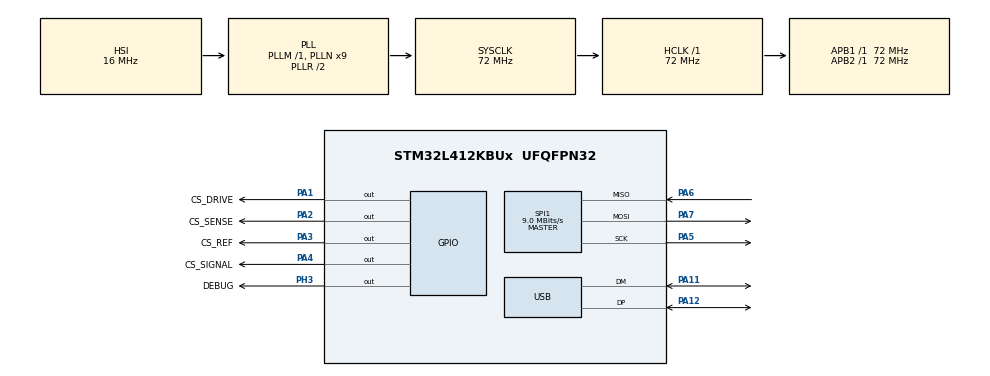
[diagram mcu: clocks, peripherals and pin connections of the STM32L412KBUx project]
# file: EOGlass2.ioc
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Mcu.Family=STM32L4
Mcu.Name=STM32L412KBUx
Mcu.Package=UFQFPN32
NVIC.PriorityGroup=NVIC_PRIORITYGROUP_4
NVIC.SPI1_IRQn=true\:0\:0\:true\:false\:true\:true\:true
NVIC.TIM1_CC_IRQn=true\:0\:0\:true\:false\:true\:true\:true
NVIC.USB_IRQn=true\:7\:0\:true\:false\:true\:false\:true
PA1.GPIO_Label=CS_DRIVE
PA1.GPIO_ModeDefaultOutputPP=GPIO_MODE_OUTPUT_PP
PA1.PinState=GPIO_PIN_SET
PA1.Signal=GPIO_Output
PA11.Mode=Device
PA11.Signal=USB_DM
PA12.Mode=Device
PA12.Signal=USB_DP
PA13\ (JTMS/SWDIO).Mode=Serial_Wire
PA13\ (JTMS/SWDIO).Signal=SYS_JTMS-SWDIO
PA14\ (JTCK/SWCLK).Mode=Serial_Wire
PA14\ (JTCK/SWCLK).Signal=SYS_JTCK-SWCLK
PA2.GPIO_Label=CS_SENSE
PA2.PinState=GPIO_PIN_SET
PA2.Signal=GPIO_Output
PA3.GPIO_Label=CS_REF
PA3.GPIO_ModeDefaultOutputPP=GPIO_MODE_OUTPUT_PP
PA3.PinState=GPIO_PIN_SET
PA3.Signal=GPIO_Output
PA4.GPIO_Label=CS_SIGNAL
PA4.PinState=GPIO_PIN_SET
PA4.Signal=GPIO_Output
PA5.GPIO_PuPd=GPIO_PULLDOWN
PA5.Mode=Full_Duplex_Master
PA5.Signal=SPI1_SCK
PA6.Mode=Full_Duplex_Master
PA6.Signal=SPI1_MISO
PA7.Mode=Full_Duplex_Master
PA7.Signal=SPI1_MOSI
PH3-BOOT0\ (BOOT0).GPIO_Label=DEBUG
PH3-BOOT0\ (BOOT0).Signal=GPIO_Output
ProjectManager.HeapSize=0x200
ProjectManager.StackSize=0x400
ProjectManager.TargetToolchain=STM32CubeIDE
RCC.ADCFreq_Value=72000000
RCC.AHBFreq_Value=72000000
RCC.APB1Freq_Value=72000000
RCC.APB1TimFreq_Value=72000000
RCC.APB2Freq_Value=72000000
RCC.APB2TimFreq_Value=72000000
RCC.CortexFreq_Value=72000000
RCC.HCLKFreq_Value=72000000
RCC.HSE_VALUE=8000000
RCC.HSI48_VALUE=48000000
RCC.HSI_VALUE=16000000
RCC.LSE_VALUE=32768
RCC.MSIClockRange=RCC_MSIRANGE_11
RCC.MSI_VALUE=48000000
RCC.PLLN=9
RCC.PLLSourceVirtual=RCC_PLLSOURCE_HSI
RCC.SYSCLKFreq_VALUE=72000000
RCC.SYSCLKSource=RCC_SYSCLKSOURCE_PLLCLK
RCC.USBFreq_Value=48000000
RCC.VCOOutputFreq_Value=144000000
SPI1.BaudRatePrescaler=SPI_BAUDRATEPRESCALER_8
SPI1.CLKPhase=SPI_PHASE_2EDGE
SPI1.CalculateBaudRate=9.0 MBits/s
SPI1.DataSize=SPI_DATASIZE_16BIT
SPI1.Direction=SPI_DIRECTION_2LINES
SPI1.Mode=SPI_MODE_MASTER
SPI1.VirtualType=VM_MASTER
TIM1.Channel-Output\ Compare1\ No\ Output=TIM_CHANNEL_1
TIM1.Period=400
TIM1.Prescaler=5
USB_DEVICE.APP_RX_DATA_SIZE=1000
USB_DEVICE.CLASS_NAME_FS=CDC
USB_DEVICE.VirtualMode=Cdc
USB_DEVICE.VirtualModeFS=Cdc_FS
VP_TIM1_VS_ClockSourceINT.Mode=Internal
VP_TIM1_VS_no_output1.Mode=Output Compare1 No Output
VP_USB_DEVICE_VS_USB_DEVICE_CDC_FS.Mode=CDC_FS
board=custom

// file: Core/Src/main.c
/* USER CODE BEGIN Header */
/**
  ******************************************************************************
  * @file           : main.c
  * @brief          : Main program body
  ******************************************************************************
  * @attention
  *
  * <h2><center>&copy; Copyright (c) 2020 STMicroelectronics.
  * All rights reserved.</center></h2>
  *
  * This software component is licensed by ST under BSD 3-Clause license,
  * the "License"; You may not use this file except in compliance with the
  * License. You may obtain a copy of the License at:
  *                        opensource.org/licenses/BSD-3-Clause
  *
  ******************************************************************************
  */
/* USER CODE END Header */

#include "main.h"
#include "usb_device.h"

SPI_HandleTypeDef hspi1;

TIM_HandleTypeDef htim1;

/* USER CODE BEGIN PV */

#define base_clock 30000
#define sine_oversample 100
#define signal_mask 0x8000
#define ref_mask 0x4000
#define demod_mask 0x2000
#define gain1 66.87
#define gain2 22
#define gain3 1.5
#define dac_to_adc_counts (gain2*gain3)
#define double_buffered 1
#define reset_bootloader_magic_number 0xBEDABB1E

// Store data for inphase and out of phase sine wave
int16_t inphase[sine_oversample] = {0,  128,  256,  383,  509,  632,  753,  871,  986, 1097, 1203, 1305,  1401, 1492, 1577, 1656, 1728, 1794, 1852, 1903, 1947, 1983, 2011, 2031,  2043, 2047, 2043, 2031, 2011, 1983, 1947, 1903, 1852, 1794, 1728, 1656,  1577, 1492, 1401, 1305, 1203, 1097,  986,  871,  753,  632,  509,  383,   256,  128,    0, -129, -257, -384, -510, -633, -754, -872, -987,-1098, -1204,-1306,-1402,-1493,-1578,-1657,-1729,-1795,-1853,-1904,-1948,-1984, -2012,-2032,-2044,-2048,-2044,-2032,-2012,-1984,-1948,-1904,-1853,-1795, -1729,-1657,-1578,-1493,-1402,-1306,-1204,-1098, -987, -872, -754, -633,  -510, -384, -257, -129};
int16_t quadphase[sine_oversample] = {2047, 2043, 2031, 2011, 1983, 1947, 1903, 1852, 1794, 1728, 1656, 1577,  1492, 1401, 1305, 1203, 1097,  986,  871,  753,  632,  509,  383,  256,   128,    0, -129, -257, -384, -510, -633, -754, -872, -987,-1098,-1204, -1306,-1402,-1493,-1578,-1657,-1729,-1795,-1853,-1904,-1948,-1984,-2012, -2032,-2044,-2048,-2044,-2032,-2012,-1984,-1948,-1904,-1853,-1795,-1729, -1657,-1578,-1493,-1402,-1306,-1204,-1098, -987, -872, -754, -633, -510,  -384, -257, -129,   -1,  128,  256,  383,  509,  632,  753,  871,  986,  1097, 1203, 1305, 1401, 1492, 1577, 1656, 1728, 1794, 1852, 1903, 1947,  1983, 2011, 2031, 2043};
// Pointer to sample of in-phase sine wave for Reference DAC
volatile uint16_t drive_ptr = 0;
// Flag to enable or disable drive signal
volatile uint8_t drive_enable = 1;

// Buffer to hold sense data
# define periods_per_demod 5
int16_t sense_buffer[sine_oversample*periods_per_demod];
// Pointer to current position in sense buffer
volatile uint16_t sense_ptr = 0;

// Buffer to hold signal data
# define signal_packet_size 64
# define signal_downsample_lenpower 5
uint32_t signal_downsample_accumulator = 0; // Accumulator used to downsample from base clock sample rate to reasonable sample rate
uint16_t signal_downsample_counter = 0; // Counter used to downsample from base clock sample rate to reasonable sample rate
uint32_t signal_averaging_accumulator = 0; // Accumulator used to average each packet so that we can target average value to our target
uint16_t signal_buffer[signal_packet_size*2]; // Double length for double buffering
volatile uint16_t signal_ptr = 0;
volatile uint8_t double_buffer_flag = 0;

// Buffers for SPI write
uint16_t dac_buffer;

// flag to indicate there is sense data available to demodulate
volatile uint8_t demod_ready_flag = 0;
// Each stage represents a spi transaction
volatile uint8_t comm_sequence_stage;
// Current reference voltage
volatile int16_t ref_voltage = 0;
#define ref_lower_threshold 500
#define ref_upper_threshold 3500
#define ref_target 2048
uint16_t ref_buffer[signal_packet_size*2]; // Double length for double buffering
// flag to indicate there is signal data available to demodulate
volatile uint8_t signal_packet_ready_flag = 0;

// Error flag for whenever something unexpected happens
volatile uint8_t error = 0;

// Flag whether we are in reference calibration mode
volatile uint8_t ref_calibration_mode = 0;
// Number of samples we should spend in each calibration step
#define ref_calibration_samples 100
volatile uint16_t ref_calibration_count = 0;

// This byte is maintained in SRAM (no init) between soft resets and used to flag that we should enter bootloader
uint32_t reset_bootloader_flag __attribute__((section(".noinit")));

/* USER CODE END PV */

void SystemClock_Config(void);
static void MX_GPIO_Init(void);
static void MX_SPI1_Init(void);
static void MX_TIM1_Init(void);
/* USER CODE BEGIN PFP */
void dispatch_drive_data(void);
void dispatch_ref_data(void);
void begin_sense_read(void);
void begin_signal_read(void);
uint16_t Package_DAC_Data(int16_t);
HAL_StatusTypeDef set_spi_cpol0_cpha1(void);
HAL_StatusTypeDef set_spi_cpol0_cpha0(void);
void fast_spi_transmit(uint16_t, uint8_t);
void fast_spi_initialise(void);
void JumpToBootloader(void);
/* USER CODE END PFP */

int main(void)
{
  /* USER CODE BEGIN 1 */

  if(reset_bootloader_flag == reset_bootloader_magic_number)
  {
	  // Enter bootloader
	  reset_bootloader_flag = 0;
	  JumpToBootloader();
  }
  else
  {
	  // Don't enter bootloader
  }

  /* USER CODE END 1 */

  /* MCU Configuration--------------------------------------------------------*/

  /* Reset of all peripherals, Initializes the Flash interface and the Systick. */
  HAL_Init();

  /* Configure the system clock */
  SystemClock_Config();

  /* Initialize all configured peripherals */
  MX_GPIO_Init();
  MX_SPI1_Init();
  MX_USB_DEVICE_Init();
  MX_TIM1_Init();
  /* USER CODE BEGIN 2 */
//  uint16_t data;
//  uint16_t level = 0;
//  HAL_StatusTypeDef r;

  fast_spi_initialise();
  /* USER CODE END 2 */

  /* Infinite loop */
  /* USER CODE BEGIN WHILE */
  HAL_TIM_OC_Start_IT(&htim1, TIM_CHANNEL_1);
  while (1)
  {
    /* USER CODE END WHILE */

    /* USER CODE BEGIN 3 */
//  HAL_GPIO_WritePin(GPIOA, CS_REF_Pin, GPIO_PIN_RESET);
//  dac_buffer = Package_DAC_Data(level);
//  r = HAL_SPI_Transmit(&hspi1, (uint8_t *)&dac_buffer, 1, HAL_MAX_DELAY);
//  HAL_GPIO_WritePin(GPIOA, CS_REF_Pin, GPIO_PIN_SET);
//
////  HAL_GPIO_WritePin(GPIOA, CS_SIGNAL_Pin, GPIO_PIN_RESET);
////  r = HAL_SPI_Receive(&hspi1, (uint8_t *)&data, 1, HAL_MAX_DELAY);
////  data = data >> 2;
////  HAL_GPIO_WritePin(GPIOA, CS_SIGNAL_Pin, GPIO_PIN_SET);
//  level+=1;
////  HAL_Delay(10);
//  continue;
//	 set_spi_cpol0_cpha0();
//	 r = HAL_SPI_Transmit(&hspi1, (uint8_t *)&dac_buffer, 1, HAL_MAX_DELAY);
//	 set_spi_cpol0_cpha1();
//	 r = HAL_SPI_Transmit(&hspi1, (uint8_t *)&dac_buffer, 1, HAL_MAX_DELAY);

	  if(demod_ready_flag)
	  {
//		  HAL_GPIO_WritePin(DEBUG_GPIO_Port, DEBUG_Pin, GPIO_PIN_SET);
		  int32_t i_acculumator = 0; // Data should JUST fit inside a 32 bit integer for 500 samples at 12 bit
		  int32_t q_acculumator = 0; // Data should JUST fit inside a 32 bit integer for 500 samples at 12 bit
		  for(uint16_t i=0; i<sine_oversample*periods_per_demod; i++)
		  {
			  uint16_t idx = i % sine_oversample;
			  i_acculumator += sense_buffer[i]*inphase[idx];
			  q_acculumator += sense_buffer[i]*quadphase[idx];
		  }
		  int32_t i_accumulatorsquared32 = (i_acculumator >> 15)*(i_acculumator >> 15);
		  int32_t q_accumulatorsquared32 = (q_acculumator >> 15)*(q_acculumator >> 15);
		  int32_t accumulatorsquared32 = i_accumulatorsquared32 + q_accumulatorsquared32;
		  uint16_t accumulator12 = (accumulatorsquared32 >> 19) | demod_mask;
		  while(CDC_Transmit_FS((uint8_t *) &accumulator12, 2) == USBD_BUSY){};
//		  HAL_GPIO_WritePin(DEBUG_GPIO_Port, DEBUG_Pin, GPIO_PIN_RESET);
		  demod_ready_flag = 0;
	  }

	  if(signal_packet_ready_flag != 0)
	  {
//		  HAL_GPIO_WritePin(DEBUG_GPIO_Port, DEBUG_Pin, GPIO_PIN_SET);
//		  HAL_GPIO_TogglePin(DEBUG_GPIO_Port, DEBUG_Pin);
		  while(CDC_Transmit_FS((uint8_t *) &signal_buffer[(signal_packet_ready_flag-1)*signal_packet_size], signal_packet_size*2) == USBD_BUSY){};
		  while(CDC_Transmit_FS((uint8_t *) &ref_buffer[(signal_packet_ready_flag-1)*signal_packet_size], signal_packet_size*2) == USBD_BUSY){};
		  signal_packet_ready_flag = 0;
//		  HAL_GPIO_WritePin(DEBUG_GPIO_Port, DEBUG_Pin, GPIO_PIN_RESET);
	  }

//	  CDC_Transmit_FS(m, 64);
//	  HAL_Delay(10);
  }
  /* USER CODE END 3 */
}

void SystemClock_Config(void)
{
  RCC_OscInitTypeDef RCC_OscInitStruct = {0};
  RCC_ClkInitTypeDef RCC_ClkInitStruct = {0};
  RCC_PeriphCLKInitTypeDef PeriphClkInit = {0};

  /** Configure the main internal regulator output voltage
  */
  if (HAL_PWREx_ControlVoltageScaling(PWR_REGULATOR_VOLTAGE_SCALE1) != HAL_OK)
  {
    Error_Handler();
  }
  /** Initializes the CPU, AHB and APB busses clocks
  */
  RCC_OscInitStruct.OscillatorType = RCC_OSCILLATORTYPE_HSI|RCC_OSCILLATORTYPE_MSI;
  RCC_OscInitStruct.HSIState = RCC_HSI_ON;
  RCC_OscInitStruct.HSICalibrationValue = RCC_HSICALIBRATION_DEFAULT;
  RCC_OscInitStruct.MSIState = RCC_MSI_ON;
  RCC_OscInitStruct.MSICalibrationValue = 0;
  RCC_OscInitStruct.MSIClockRange = RCC_MSIRANGE_11;
  RCC_OscInitStruct.PLL.PLLState = RCC_PLL_ON;
  RCC_OscInitStruct.PLL.PLLSource = RCC_PLLSOURCE_HSI;
  RCC_OscInitStruct.PLL.PLLM = 1;
  RCC_OscInitStruct.PLL.PLLN = 9;
  RCC_OscInitStruct.PLL.PLLQ = RCC_PLLQ_DIV2;
  RCC_OscInitStruct.PLL.PLLR = RCC_PLLR_DIV2;
  if (HAL_RCC_OscConfig(&RCC_OscInitStruct) != HAL_OK)
  {
    Error_Handler();
  }
  /** Initializes the CPU, AHB and APB busses clocks
  */
  RCC_ClkInitStruct.ClockType = RCC_CLOCKTYPE_HCLK|RCC_CLOCKTYPE_SYSCLK
                              |RCC_CLOCKTYPE_PCLK1|RCC_CLOCKTYPE_PCLK2;
  RCC_ClkInitStruct.SYSCLKSource = RCC_SYSCLKSOURCE_PLLCLK;
  RCC_ClkInitStruct.AHBCLKDivider = RCC_SYSCLK_DIV1;
  RCC_ClkInitStruct.APB1CLKDivider = RCC_HCLK_DIV1;
  RCC_ClkInitStruct.APB2CLKDivider = RCC_HCLK_DIV1;

  if (HAL_RCC_ClockConfig(&RCC_ClkInitStruct, FLASH_LATENCY_4) != HAL_OK)
  {
    Error_Handler();
  }
  PeriphClkInit.PeriphClockSelection = RCC_PERIPHCLK_USB;
  PeriphClkInit.UsbClockSelection = RCC_USBCLKSOURCE_MSI;
  if (HAL_RCCEx_PeriphCLKConfig(&PeriphClkInit) != HAL_OK)
  {
    Error_Handler();
  }
}

static void MX_SPI1_Init(void)
{

  /* SPI1 parameter configuration*/
  hspi1.Instance = SPI1;
  hspi1.Init.Mode = SPI_MODE_MASTER;
  hspi1.Init.Direction = SPI_DIRECTION_2LINES;
  hspi1.Init.DataSize = SPI_DATASIZE_16BIT;
  hspi1.Init.CLKPolarity = SPI_POLARITY_LOW;
  hspi1.Init.CLKPhase = SPI_PHASE_2EDGE;
  hspi1.Init.NSS = SPI_NSS_SOFT;
  hspi1.Init.BaudRatePrescaler = SPI_BAUDRATEPRESCALER_8;
  hspi1.Init.FirstBit = SPI_FIRSTBIT_MSB;
  hspi1.Init.TIMode = SPI_TIMODE_DISABLE;
  hspi1.Init.CRCCalculation = SPI_CRCCALCULATION_DISABLE;
  hspi1.Init.CRCPolynomial = 7;
  hspi1.Init.CRCLength = SPI_CRC_LENGTH_DATASIZE;
  hspi1.Init.NSSPMode = SPI_NSS_PULSE_DISABLE;
  if (HAL_SPI_Init(&hspi1) != HAL_OK)
  {
    Error_Handler();
  }

}

static void MX_TIM1_Init(void)
{

  TIM_ClockConfigTypeDef sClockSourceConfig = {0};
  TIM_MasterConfigTypeDef sMasterConfig = {0};
  TIM_OC_InitTypeDef sConfigOC = {0};
  TIM_BreakDeadTimeConfigTypeDef sBreakDeadTimeConfig = {0};

  htim1.Instance = TIM1;
  htim1.Init.Prescaler = 5;
  htim1.Init.CounterMode = TIM_COUNTERMODE_UP;
  htim1.Init.Period = 400;
  htim1.Init.ClockDivision = TIM_CLOCKDIVISION_DIV1;
  htim1.Init.RepetitionCounter = 0;
  htim1.Init.AutoReloadPreload = TIM_AUTORELOAD_PRELOAD_DISABLE;
  if (HAL_TIM_Base_Init(&htim1) != HAL_OK)
  {
    Error_Handler();
  }
  sClockSourceConfig.ClockSource = TIM_CLOCKSOURCE_INTERNAL;
  if (HAL_TIM_ConfigClockSource(&htim1, &sClockSourceConfig) != HAL_OK)
  {
    Error_Handler();
  }
  if (HAL_TIM_OC_Init(&htim1) != HAL_OK)
  {
    Error_Handler();
  }
  sMasterConfig.MasterOutputTrigger = TIM_TRGO_RESET;
  sMasterConfig.MasterOutputTrigger2 = TIM_TRGO2_RESET;
  sMasterConfig.MasterSlaveMode = TIM_MASTERSLAVEMODE_DISABLE;
  if (HAL_TIMEx_MasterConfigSynchronization(&htim1, &sMasterConfig) != HAL_OK)
  {
    Error_Handler();
  }
  sConfigOC.OCMode = TIM_OCMODE_TIMING;
  sConfigOC.Pulse = 0;
  sConfigOC.OCPolarity = TIM_OCPOLARITY_HIGH;
  sConfigOC.OCNPolarity = TIM_OCNPOLARITY_HIGH;
  sConfigOC.OCFastMode = TIM_OCFAST_DISABLE;
  sConfigOC.OCIdleState = TIM_OCIDLESTATE_RESET;
  sConfigOC.OCNIdleState = TIM_OCNIDLESTATE_RESET;
  if (HAL_TIM_OC_ConfigChannel(&htim1, &sConfigOC, TIM_CHANNEL_1) != HAL_OK)
  {
    Error_Handler();
  }
  sBreakDeadTimeConfig.OffStateRunMode = TIM_OSSR_DISABLE;
  sBreakDeadTimeConfig.OffStateIDLEMode = TIM_OSSI_DISABLE;
  sBreakDeadTimeConfig.LockLevel = TIM_LOCKLEVEL_OFF;
  sBreakDeadTimeConfig.DeadTime = 0;
  sBreakDeadTimeConfig.BreakState = TIM_BREAK_DISABLE;
  sBreakDeadTimeConfig.BreakPolarity = TIM_BREAKPOLARITY_HIGH;
  sBreakDeadTimeConfig.BreakFilter = 0;
  sBreakDeadTimeConfig.Break2State = TIM_BREAK2_DISABLE;
  sBreakDeadTimeConfig.Break2Polarity = TIM_BREAK2POLARITY_HIGH;
  sBreakDeadTimeConfig.Break2Filter = 0;
  sBreakDeadTimeConfig.AutomaticOutput = TIM_AUTOMATICOUTPUT_DISABLE;
  if (HAL_TIMEx_ConfigBreakDeadTime(&htim1, &sBreakDeadTimeConfig) != HAL_OK)
  {
    Error_Handler();
  }

}

static void MX_GPIO_Init(void)
{
  GPIO_InitTypeDef GPIO_InitStruct = {0};

  /* GPIO Ports Clock Enable */
  __HAL_RCC_GPIOA_CLK_ENABLE();
  __HAL_RCC_GPIOH_CLK_ENABLE();

  /*Configure GPIO pin Output Level */
  HAL_GPIO_WritePin(GPIOA, CS_DRIVE_Pin|CS_SENSE_Pin|CS_REF_Pin|CS_SIGNAL_Pin, GPIO_PIN_SET);

  /*Configure GPIO pin Output Level */
  HAL_GPIO_WritePin(DEBUG_GPIO_Port, DEBUG_Pin, GPIO_PIN_RESET);

  /*Configure GPIO pins : CS_DRIVE_Pin CS_SENSE_Pin CS_REF_Pin CS_SIGNAL_Pin */
  GPIO_InitStruct.Pin = CS_DRIVE_Pin|CS_SENSE_Pin|CS_REF_Pin|CS_SIGNAL_Pin;
  GPIO_InitStruct.Mode = GPIO_MODE_OUTPUT_PP;
  GPIO_InitStruct.Pull = GPIO_NOPULL;
  GPIO_InitStruct.Speed = GPIO_SPEED_FREQ_LOW;
  HAL_GPIO_Init(GPIOA, &GPIO_InitStruct);

  /*Configure GPIO pin : DEBUG_Pin */
  GPIO_InitStruct.Pin = DEBUG_Pin;
  GPIO_InitStruct.Mode = GPIO_MODE_OUTPUT_PP;
  GPIO_InitStruct.Pull = GPIO_NOPULL;
  GPIO_InitStruct.Speed = GPIO_SPEED_FREQ_LOW;
  HAL_GPIO_Init(DEBUG_GPIO_Port, &GPIO_InitStruct);

}

/* USER CODE BEGIN 4 */

// Take nsigned 16-bit data and translate to correct format for DAC7311
// should be unisgned with 2-MSBs should be zero to indicate normal mode
// middle 12 bits should be data
// 2-LSBs are don't care, we send zeros
uint16_t Package_DAC_Data(int16_t data)
{
	uint16_t data_formatted = (uint16_t) (data + (1 << 11));
	data_formatted = ((data_formatted << 2) & 0x3FFC);
	return data_formatted;
}

// Send the next sample to the drive dac
void dispatch_drive_data()
{
	HAL_GPIO_WritePin(GPIOA, CS_DRIVE_Pin, GPIO_PIN_RESET);
	if(drive_enable)
	{
		dac_buffer = Package_DAC_Data(inphase[drive_ptr]);
	}
	else
	{
		dac_buffer = Package_DAC_Data(0);
	}
	fast_spi_transmit(dac_buffer, 0);
	if(++drive_ptr >= sine_oversample)
	{
		drive_ptr = 0;
	}
}

// Send the next sample to the ref dac
void dispatch_ref_data()
{
	HAL_GPIO_WritePin(GPIOA, CS_REF_Pin, GPIO_PIN_RESET);
	dac_buffer = Package_DAC_Data(ref_voltage);
	fast_spi_transmit(dac_buffer, 0);
}

// Begin spi transaction to load next sense ADC sample
void begin_sense_read()
{
	HAL_GPIO_WritePin(GPIOA, CS_SENSE_Pin, GPIO_PIN_RESET);
	fast_spi_transmit(0x0000, 0); // send dummy data
}

// Begin spi transaction to load next signal ADC sample
void begin_signal_read()
{
	HAL_GPIO_WritePin(GPIOA, CS_SIGNAL_Pin, GPIO_PIN_RESET);
	fast_spi_transmit(0x0000, 0); // send dummy data
}

// Write a single 16-bit value to the TXFIFO so it will get clocked out
// cpha not yet supported
void fast_spi_transmit(uint16_t data, uint8_t cpha)
{
//	HAL_GPIO_WritePin(DEBUG_GPIO_Port, DEBUG_Pin, GPIO_PIN_SET);
	// coming into this function we assume the SPI is not busy and also that the spi is disabled
	hspi1.Instance->DR = data;
}

// Callback is called when there is data received in RXFIFO.
// This occurs after both a TX and an RX because we are full duplex.
void fast_spi_rxcallback(uint16_t data)
{
	// Reset CS lines after transmission complete
	HAL_GPIO_WritePin(GPIOA, CS_REF_Pin|CS_SIGNAL_Pin|CS_SENSE_Pin|CS_DRIVE_Pin, GPIO_PIN_SET);
//	HAL_GPIO_WritePin(DEBUG_GPIO_Port, DEBUG_Pin, GPIO_PIN_RESET);

	switch(comm_sequence_stage)
	{
		case(0):	begin_signal_read(); break; // Begin read EOG signal
		case(1):	// Handle EOG result
					signal_downsample_accumulator += data >> 2; //add data to accumulator (ADC 2 LSBs are always zeros)
					if(++signal_downsample_counter == (1 << signal_downsample_lenpower))
					{
						uint16_t sample = (signal_downsample_accumulator >> signal_downsample_lenpower);
						ref_buffer[signal_ptr + double_buffer_flag*signal_packet_size] = ((uint16_t)(ref_voltage+2048)) | ref_mask;
						signal_buffer[signal_ptr + double_buffer_flag*signal_packet_size] = sample | signal_mask;
						signal_downsample_accumulator = 0;
						signal_downsample_counter = 0;
						signal_averaging_accumulator += sample;
						// If we are adding new data but we haven't finished transmitting the old data, throw error flag
						if(signal_packet_ready_flag == (double_buffer_flag + 1))
						{
							error = 1;
						}
						if(++signal_ptr >= signal_packet_size) // When we have enough data for a full packet
						{
							// Reset pointer to start of buffer
							signal_ptr = 0;
							// Mark that this buffer is ready for sending over USB
							signal_packet_ready_flag = double_buffer_flag + 1;
							if(double_buffered)
							{
								// Switch which buffer we are using
								double_buffer_flag = (double_buffer_flag == 0 ? 1 : 0);
							}

							// Adjust reference so packet average is the target
							uint32_t signal_packet_average = signal_averaging_accumulator / signal_packet_size;
							if(!ref_calibration_mode)
							{
								if(signal_packet_average > ref_upper_threshold)
								{
									if((ref_voltage -= (uint16_t) ((signal_packet_average - ref_target)/dac_to_adc_counts)) < -2048)
									{
										ref_voltage = -2048;
									}
								}
								if(signal_packet_average < ref_lower_threshold)
								{
									if((ref_voltage += (uint16_t) ((ref_target - signal_packet_average)/dac_to_adc_counts)) > 2047)
									{
										ref_voltage = 2047;
									}
								}
							}
							signal_averaging_accumulator = 0;
						}
						if(ref_calibration_mode)
						{
							if(++ref_calibration_count >= ref_calibration_samples)
							{
								if(++ref_voltage > 70)
								{
									ref_voltage = -70;
								}
								ref_calibration_count = 0;
							}
						}
					}
					begin_sense_read(); // Begin reading sense signal
					break;
	case(2):	// Handle sense signal
				sense_buffer[sense_ptr] = (int16_t)((data >> 2) - (1<<11)); // ADC 2 LSBs are always zeros
				if(++sense_ptr >= sine_oversample * periods_per_demod)
				{
					demod_ready_flag = 1;
					sense_ptr = 0;
				}
				dispatch_ref_data(); // Dispatch ref data
				break;
	default: break;
	}
	comm_sequence_stage++;
}

void fast_spi_initialise()
{
	// Enable only the RX interrupt as this will be thrown after 16 bits have been transmitted
	__HAL_SPI_ENABLE_IT(&hspi1, (SPI_IT_RXNE));
	// Enable the SPI. Nothing should happend until we send the fast_spi_transmit function
	__HAL_SPI_ENABLE(&hspi1);
}

// Callback for when data is recieved via CDC, called from usbd_cdc_if.c
void receive_cdc_data(uint8_t* buf, uint16_t len)
{
	if(len == 1)
	{
		if(buf[0] == 'c')
		{
			ref_calibration_mode = !ref_calibration_mode;
		}
		if(buf[0] == 'm')
		{
			drive_enable = !drive_enable;
		}
		if(buf[0] == 'r')
		{
			reset_bootloader_flag = 0;
			NVIC_SystemReset();
		}
		if(buf[0] == 'b')
		{
			reset_bootloader_flag = reset_bootloader_magic_number;
			NVIC_SystemReset();
		}
	}
}

// Timer output compare interrupt (main base clock for sampling)
void HAL_TIM_OC_DelayElapsedCallback(TIM_HandleTypeDef *htim)
{
	dispatch_drive_data();
	comm_sequence_stage = 0;
}

//From: https://stm32f4-discovery.net/2017/04/tutorial-jump-system-memory-software-stm32/
void JumpToBootloader(void) {

	void (*SysMemBootJump)(void);

	/**
	 * Step: Set system memory address.
	 *
	 *       For STM32L412xx, system memory is on 0x1FFF 0000
	 *       For other families, check AN2606 document table 110 with descriptions of memory addresses
	 */
	volatile uint32_t addr = 0x1FFF0000;

	/**
	 * Step: Disable RCC, set it to default (after reset) settings
	 *       Internal clock, no PLL, etc.
	 */
#if defined(USE_HAL_DRIVER)
	HAL_RCC_DeInit();
#endif /* defined(USE_HAL_DRIVER) */
#if defined(USE_STDPERIPH_DRIVER)
	RCC_DeInit();
#endif /* defined(USE_STDPERIPH_DRIVER) */

	/**
	 * Step: Disable systick timer and reset it to default values
	 */
	SysTick->CTRL = 0;
	SysTick->LOAD = 0;
	SysTick->VAL = 0;

	/**
	 * Step: Remap system memory to address 0x0000 0000 in address space
	 *       For each family registers may be different.
	 *       Check reference manual for each family.
	 *
	 *       For STM32F4xx, MEMRMP register in SYSCFG is used (bits[1:0])
	 *       For STM32F0xx, CFGR1 register in SYSCFG is used (bits[1:0])
	 *       For others, check family reference manual
	 */
	__HAL_SYSCFG_REMAPMEMORY_SYSTEMFLASH();	//Call HAL macro to do this for you

	/**
	 * Step: Set jump memory location for system memory
	 *       Use address with 4 bytes offset which specifies jump location where program starts
	 */
	SysMemBootJump = (void (*)(void)) (*((uint32_t *)(addr + 4)));

	/**
	 * Step: Set main stack pointer.
	 *       This step must be done last otherwise local variables in this function
	 *       don't have proper value since stack pointer is located on different position
	 *
	 *       Set direct address location which specifies stack pointer in SRAM location
	 */
	__set_MSP(*(uint32_t *)addr);

	/**
	 * Step: Actually call our function to jump to set location
	 *       This will start system memory execution
	 */
	SysMemBootJump();
}

/* USER CODE END 4 */

void Error_Handler(void)
{
}

/************************ (C) COPYRIGHT STMicroelectronics *****END OF FILE****/
